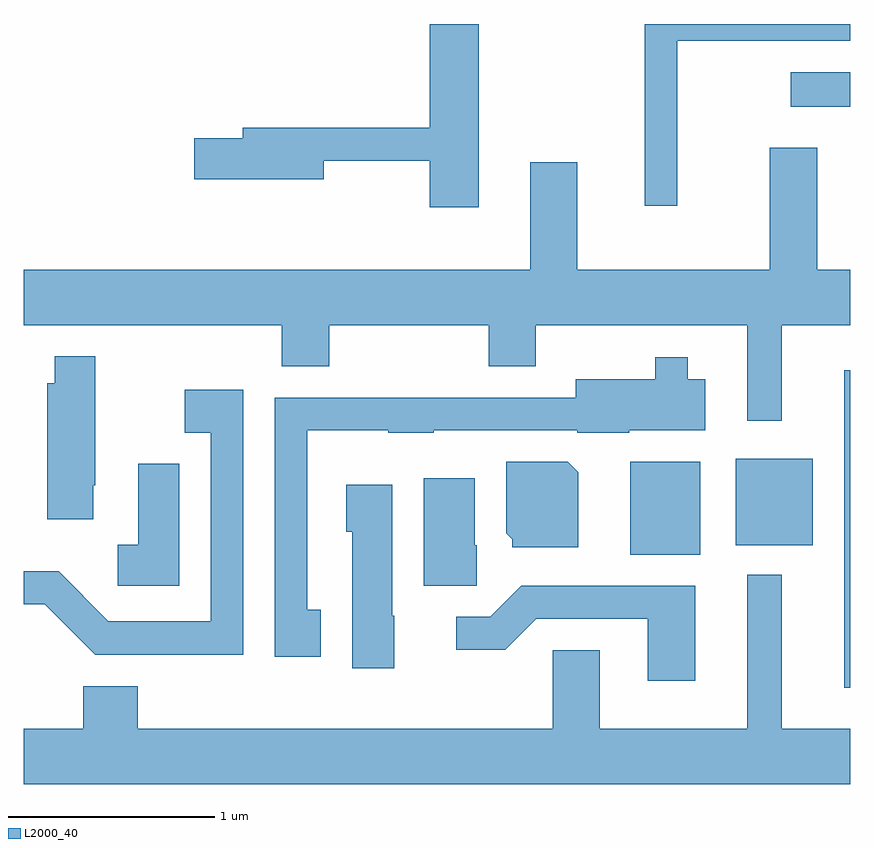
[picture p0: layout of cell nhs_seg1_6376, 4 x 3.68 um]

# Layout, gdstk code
import gdstk
lib = gdstk.Library(unit=1e-6, precision=1e-09)
def R(c, l, rs):  # rectangles x0, y0, x1, y1
    for r in rs: c.add(gdstk.rectangle(r[:2], r[2:], *l))
def P(c, l, *ps):  # polygons
    for p in ps: c.add(gdstk.Polygon(p, *l))
L2000_40 = (2000, 40)

nhs_seg1_6376 = lib.new_cell('nhs_seg1_6376')
R(nhs_seg1_6376, L2000_40, [(381.581,884.501,381.611,886.038), (380.546,885.146,380.884,885.594), (381.056,885.191,381.429,885.609), (381.323,887.311,381.611,887.479)])
P(nhs_seg1_6376, L2000_40, [(380.774,887.631),(381.611,887.631),(381.611,887.712),(380.616,887.712),(380.616,886.833),(380.774,886.833)],
  [(379.814,887.712),(379.576,887.712),(379.576,887.209),(378.671,887.209),(378.671,887.159),(378.436,887.159),(378.436,886.961),(379.064,886.961),(379.064,887.051),(379.576,887.051),(379.576,886.826),(379.814,886.826)],
  [(381.279,886.256),(381.611,886.256),(381.611,886.524),(381.449,886.524),(381.449,887.114),(381.221,887.114),(381.221,886.524),(380.289,886.524),(380.289,887.044),(380.061,887.044),(380.061,886.524),(377.611,886.524),(377.611,886.256),(378.861,886.256),(378.861,886.056),(379.089,886.056),(379.089,886.256),(379.861,886.256),(379.861,886.056),(380.089,886.056),(380.089,886.256),(381.111,886.256),(381.111,885.793),(381.279,885.793)],
  [(377.949,885.48),(377.959,885.48),(377.959,886.104),(377.761,886.104),(377.761,885.974),(377.726,885.974),(377.726,885.316),(377.949,885.316)],
  [(379.049,884.879),(378.984,884.879),(378.984,885.746),(379.375,885.746),(379.375,885.736),(379.595,885.736),(379.595,885.746),(380.29,885.746),(380.29,885.736),(380.54,885.736),(380.54,885.746),(380.909,885.746),(380.909,885.994),(380.824,885.994),(380.824,886.099),(380.666,886.099),(380.666,885.994),(380.281,885.994),(380.281,885.904),(378.826,885.904),(378.826,884.651),(379.049,884.651)],
  [(378.674,885.944),(378.391,885.944),(378.391,885.736),(378.516,885.736),(378.516,884.824),(378.022,884.824),(377.782,885.064),(377.611,885.064),(377.611,884.906),(377.714,884.906),(377.959,884.661),(378.674,884.661)],
  [(380.294,885.544),(380.244,885.594),(379.946,885.594),(379.946,885.249),(379.976,885.219),(379.976,885.181),(380.294,885.181)],
  [(378.364,885.584),(378.166,885.584),(378.166,885.194),(378.066,885.194),(378.066,884.996),(378.364,884.996)],
  [(379.804,885.19),(379.794,885.19),(379.794,885.514),(379.546,885.514),(379.546,884.996),(379.804,884.996)],
  [(379.404,884.85),(379.394,884.85),(379.394,885.484),(379.171,885.484),(379.171,885.256),(379.201,885.256),(379.201,884.596),(379.404,884.596)],
  [(381.611,884.304),(381.279,884.304),(381.279,885.048),(381.111,885.048),(381.111,884.304),(380.399,884.304),(380.399,884.684),(380.171,884.684),(380.171,884.304),(378.164,884.304),(378.164,884.509),(377.901,884.509),(377.901,884.304),(377.611,884.304),(377.611,884.036),(381.611,884.036)],
  [(380.859,884.994),(380.019,884.994),(379.869,884.844),(379.703,884.844),(379.703,884.686),(379.942,884.686),(380.092,884.836),(380.631,884.836),(380.631,884.536),(380.859,884.536)])

lib.write_gds('nhs_seg1_6376.gds')
